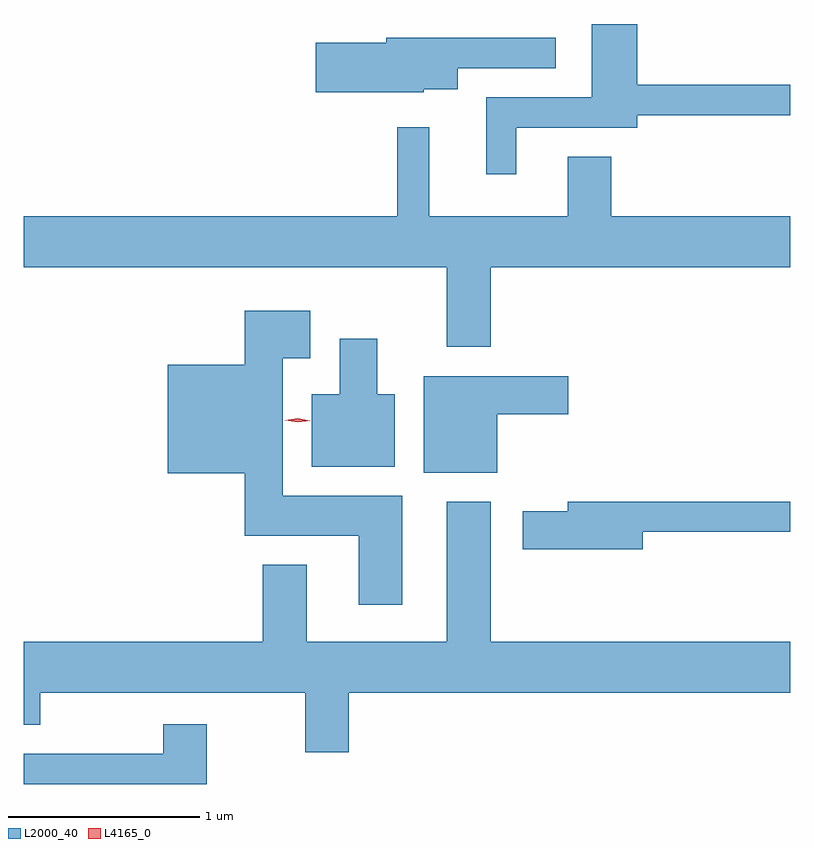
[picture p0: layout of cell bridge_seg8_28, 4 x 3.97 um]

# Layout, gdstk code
import gdstk
lib = gdstk.Library(unit=1e-6, precision=1e-09)
def P(c, l, *ps):  # polygons
    for p in ps: c.add(gdstk.Polygon(p, *l))
L2000_40 = (2000, 40)
L4165_0 = (4165, 0)

bridge_seg8_28 = lib.new_cell('bridge_seg8_28')
P(bridge_seg8_28, L2000_40, [(1761.094,1912.626),(1761.724,1912.626),(1761.724,1912.691),(1762.523,1912.691),(1762.523,1912.849),(1761.724,1912.849),(1761.724,1913.166),(1761.486,1913.166),(1761.486,1912.784),(1760.936,1912.784),(1760.936,1912.383),(1761.094,1912.383)],
  [(1760.61,1912.826),(1760.789,1912.826),(1760.789,1912.936),(1761.298,1912.936),(1761.298,1913.094),(1760.416,1913.094),(1760.416,1913.069),(1760.046,1913.069),(1760.046,1912.811),(1760.61,1912.811)],
  [(1760.959,1911.896),(1762.523,1911.896),(1762.523,1912.164),(1761.589,1912.164),(1761.589,1912.474),(1761.361,1912.474),(1761.361,1912.164),(1760.639,1912.164),(1760.639,1912.628),(1760.471,1912.628),(1760.471,1912.164),(1758.523,1912.164),(1758.523,1911.896),(1760.731,1911.896),(1760.731,1911.481),(1760.959,1911.481)],
  [(1760.499,1910.704),(1759.874,1910.704),(1759.874,1911.421),(1760.019,1911.421),(1760.019,1911.669),(1759.676,1911.669),(1759.676,1911.389),(1759.276,1911.389),(1759.276,1910.821),(1759.676,1910.821),(1759.676,1910.496),(1760.271,1910.496),(1760.271,1910.136),(1760.499,1910.136)],
  [(1760.459,1911.234),(1760.369,1911.234),(1760.369,1911.524),(1760.171,1911.524),(1760.171,1911.234),(1760.026,1911.234),(1760.026,1910.856),(1760.459,1910.856)],
  [(1760.994,1911.131),(1761.364,1911.131),(1761.364,1911.329),(1760.611,1911.329),(1760.611,1910.826),(1760.994,1910.826)],
  [(1760.219,1909.676),(1762.523,1909.676),(1762.523,1909.944),(1760.959,1909.944),(1760.959,1910.674),(1760.731,1910.674),(1760.731,1909.944),(1759.999,1909.944),(1759.999,1910.344),(1759.771,1910.344),(1759.771,1909.944),(1758.523,1909.944),(1758.523,1909.511),(1758.609,1909.511),(1758.609,1909.676),(1759.991,1909.676),(1759.991,1909.366),(1760.219,1909.366)],
  [(1761.754,1910.516),(1762.523,1910.516),(1762.523,1910.674),(1761.361,1910.674),(1761.361,1910.624),(1761.126,1910.624),(1761.126,1910.426),(1761.754,1910.426)],
  [(1759.479,1909.514),(1759.251,1909.514),(1759.251,1909.359),(1758.523,1909.359),(1758.523,1909.201),(1759.479,1909.201)])
P(bridge_seg8_28, L4165_0, [(1759.952,1911.088),(1759.886,1911.099),(1759.886,1911.099),(1759.886,1911.1),(1759.952,1911.108),(1760.017,1911.097),(1760.018,1911.097),(1760.017,1911.096)])

lib.write_gds('bridge_seg8_28.gds')
